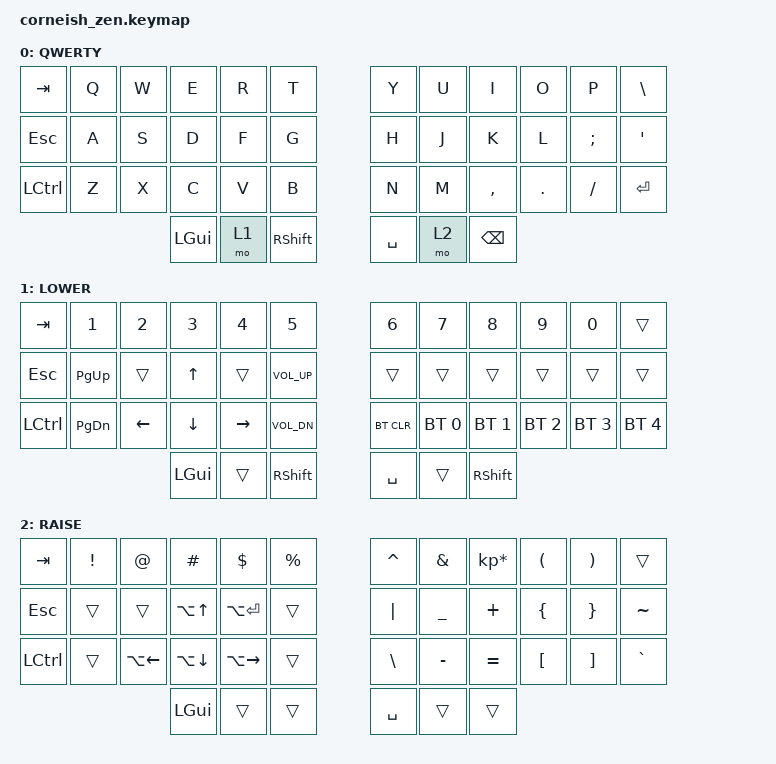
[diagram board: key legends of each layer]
#include <behaviors.dtsi>
#include <dt-bindings/zmk/keys.h>
#include <dt-bindings/zmk/bt.h>

/ {
  chosen {
    zmk,matrix_transform = &default_transform;
    //zmk,matrix_transform = &five_column_transform;
  };
};

/ {
        keymap {
                compatible = "zmk,keymap";

                default_layer {
                        label = "QWERTY";
// --------------------------------------   ----------------------------------------
// | TAB  |  Q  |  W  |  E  |  R  |  T  |   |  Y  |  U   |  I   |  O  |  P  |  \   |
// | ESC  |  A  |  S  |  D  |  F  |  G  |   |  H  |  J   |  K   |  L  |  ;  |  '   |
// | CTRL |  Z  |  X  |  C  |  V  |  B  |   |  N  |  M   |  ,   |  .  |  /  | ENT  |
// --------------------------------------   ----------------------------------------
//                    | GUI | LWR | SHFT|   | SPC | RSE  | BSPC |
//                    -------------------   ---------------------
                        bindings = <
   &kp TAB   &kp Q &kp W &kp E &kp R &kp T   &kp Y &kp U  &kp I     &kp O   &kp P    &kp BSLH
   &kp ESC   &kp A &kp S &kp D &kp F &kp G   &kp H &kp J  &kp K     &kp L   &kp SEMI &kp SQT
   &kp LCTRL &kp Z &kp X &kp C &kp V &kp B   &kp N &kp M  &kp COMMA &kp DOT &kp FSLH &kp RET
                  &kp LGUI &mo 1 &kp RSHFT   &kp SPACE &mo 2 &kp BSPC
                        >;
                };
                lower_layer {
                        label = "LOWER";
// -------------------------------------------   ---------------------------------------
// | TAB  |  1   |  2   |  3   |  4   |  5   |   |  6  |  7  |  8   |  9  |  0  |      |
// | ESC  | PGUP |      |  UP  |      | VOLU |   |     |     |      |     |     |      |
// | CTRL | PGDN | LEFT | DOWN | RGHT | VOLD |   |     |     |      |     |     |      |
// -------------------------------------------   ---------------------------------------
//                      | GUI  |      | SPC  |   | ENT |     | SHFT |
//                      ----------------------   --------------------
                        bindings = <
   &kp TAB   &kp N1    &kp N2   &kp N3   &kp N4    &kp N5        &kp N6     &kp N7       &kp N8       &kp N9       &kp N0       &trans
   &kp ESC   &kp PG_UP &trans   &kp UP   &trans    &kp C_VOL_UP  &trans     &trans       &trans       &trans       &trans       &trans
   &kp LCTRL &kp PG_DN &kp LEFT &kp DOWN &kp RIGHT &kp C_VOL_DN  &bt BT_CLR &bt BT_SEL 0 &bt BT_SEL 1 &bt BT_SEL 2 &bt BT_SEL 3 &bt BT_SEL 4
                                &kp LGUI &trans    &kp RSHFT     &kp SPACE  &trans       &kp RSHFT
                        >;
                };

                raise_layer {
                        label = "RAISE";
// --------------------------------------   ---------------------------------------
// |  TAB |  !  |  @  |  #  |  $  |  %  |   |  ^  |  &  |  *   |  (  |  )  |      |
// |  ESC |     |     |     |     |     |   |  |  |  _  |  +   |  {  |  }  |  ~   |
// | CTRL |     |     |     |     |     |   |  \  |  -  |  =   |  [  |  ]  |  `   | // TODO: Fix this row when &mkp is committed
// --------------------------------------   ---------------------------------------
//                    | GUI |     | SPC |   | SPC |     | SHFT |
//                    -------------------   -------------------
                        bindings = <
   &kp  TAB  &kp EXCL  &kp AT       &kp HASH     &kp DLLR      &kp PRCNT       &kp CARET &kp AMPS  &kp KP_MULTIPLY &kp LPAR &kp RPAR &trans
   &kp  ESC  &trans    &trans       &kp LA(UP)   &kp LA(RET)   &trans          &kp PIPE  &kp UNDER &kp PLUS        &kp LBRC &kp RBRC &kp TILDE
   &kp LCTRL &trans    &kp LA(LEFT) &kp LA(DOWN) &kp LA(RIGHT) &trans          &kp BSLH  &kp MINUS &kp EQUAL       &kp LBKT &kp RBKT &kp GRAVE
                                    &kp LGUI     &trans        &trans          &kp SPACE &trans    &trans
                        >;
                };
        };
};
